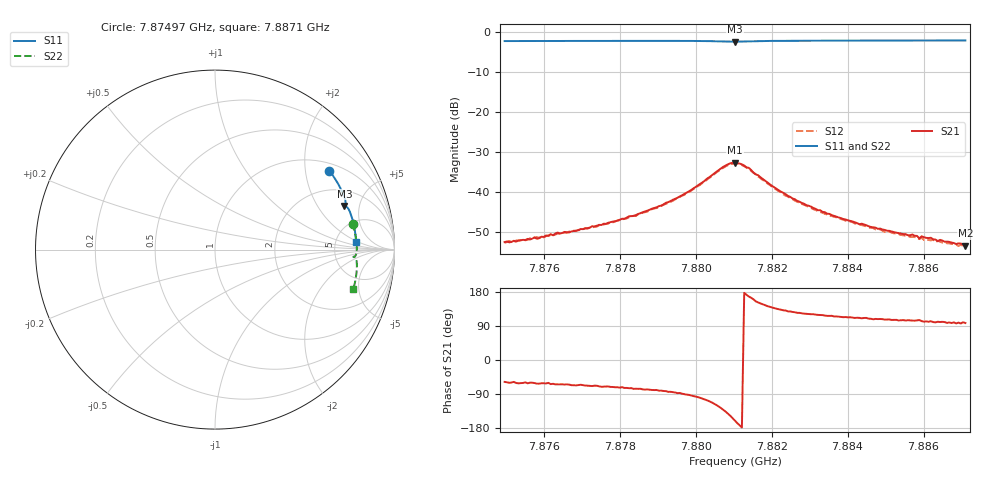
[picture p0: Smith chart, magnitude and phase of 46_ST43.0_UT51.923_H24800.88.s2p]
#  HZ  S  DB  R  50.00
! Rohde & Schwarz Vector Network Analyzer
! Rohde-Schwarz,ZNB20-2Port,1311601062101988,3.16
! Created: UTC 1/12/2023, 6:32:33 PM
! freq[Hz]  db:S11  ang:S11  db:S21  ang:S21  db:S12  ang:S12  db:S22  ang:S22
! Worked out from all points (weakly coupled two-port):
!   201 points, 7.87497 GHz to 7.8871 GHz, reference 50 ohm
!   highest |S21| = -32.63 dB at 7.88104 GHz (marker M1); lowest = -53.4 dB at 7.8871 GHz (marker M2)
!   lowest |S11| = -2.4 dB at 7.88104 GHz (marker M3), VSWR 7.36, Z = 154 + j177 ohm
!   |S11| at or under -10 dB: nowhere
!   |S22| runs from -2.2 to -1.9 dB; largest |S21 - S12| = 0.0016
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7.874971e9  -2.23 34.6  -52.50 -57.8  -52.64 -61.8  -2.14 10.6
7.87576e9  -2.21 32.5  -51.32 -60.9  -51.40 -65.8  -2.11 8.7
7.87582e9  -2.21 32.3  -51.68 -62.4  -51.28 -65.7  -2.11 8.6
7.876366e9  -2.20 30.8  -50.11 -64.4  -50.33 -66.1  -2.10 7.3
7.877033e9  -2.19 29.0  -49.26 -66.3  -49.28 -70.2  -2.08 5.7
7.878429e9  -2.18 25.2  -45.75 -75.8  -45.97 -79.1  -2.05 2.5
7.879035e9  -2.17 23.5  -43.52 -81.0  -43.67 -84.2  -2.05 1.1
7.879884e9  -2.19 21.0  -39.47 -93.8  -39.63 -96.7  -2.06 -1.1
7.880733e9  -2.32 18.8  -33.64 -131.8  -33.87 -135.1  -2.19 -3.0
7.881037e9  -2.38 18.6  -32.63 -160.5  -32.85 -163.2  -2.25 -3.0
7.881401e9  -2.30 18.4  -33.94 167.5  -34.24 164.2  -2.18 -3.0
7.88225e9  -2.16 16.1  -39.91 132.6  -40.09 129.0  -2.02 -4.9
7.883099e9  -2.12 13.7  -43.97 120.8  -44.26 115.9  -1.98 -7.0
7.884312e9  -2.10 10.4  -48.04 111.1  -48.02 107.5  -1.95 -9.7
7.8851e9  -2.09 8.3  -49.70 107.1  -49.91 104.9  -1.93 -11.5
7.885707e9  -2.09 6.7  -50.60 104.0  -51.20 100.4  -1.93 -12.8
7.885889e9  -2.08 6.3  -51.59 105.4  -51.75 98.8  -1.93 -13.2
7.88595e9  -2.08 6.1  -51.04 102.7  -51.43 99.8  -1.93 -13.4
7.88601e9  -2.08 5.9  -51.28 101.1  -51.95 99.2  -1.92 -13.5
7.886253e9  -2.08 5.3  -51.79 100.1  -51.91 98.7  -1.92 -14.0
7.886313e9  -2.08 5.1  -51.86 99.3  -52.54 97.8  -1.93 -14.1
7.887102e9  -2.07 3.1  -53.42 97.5  -53.52 96.7  -1.92 -15.8
